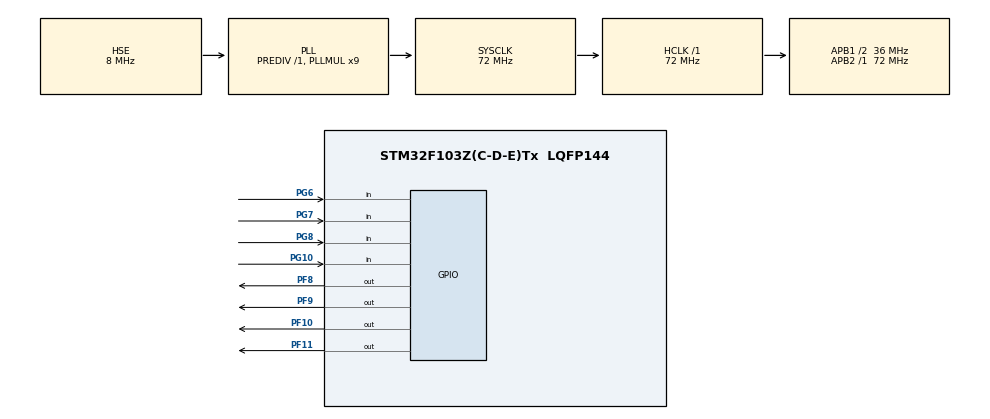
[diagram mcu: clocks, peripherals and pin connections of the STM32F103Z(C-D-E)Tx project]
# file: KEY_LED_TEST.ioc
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Mcu.Family=STM32F1
Mcu.Name=STM32F103Z(C-D-E)Tx
Mcu.Package=LQFP144
NVIC.PriorityGroup=NVIC_PRIORITYGROUP_4
OSC_IN.Mode=HSE-External-Oscillator
OSC_IN.Signal=RCC_OSC_IN
OSC_OUT.Mode=HSE-External-Oscillator
OSC_OUT.Signal=RCC_OSC_OUT
PA13.Mode=Serial_Wire
PA13.Signal=SYS_JTMS-SWDIO
PA14.Mode=Serial_Wire
PA14.Signal=SYS_JTCK-SWCLK
PF10.PinState=GPIO_PIN_SET
PF10.Signal=GPIO_Output
PF11.PinState=GPIO_PIN_SET
PF11.Signal=GPIO_Output
PF8.PinState=GPIO_PIN_SET
PF8.Signal=GPIO_Output
PF9.PinState=GPIO_PIN_SET
PF9.Signal=GPIO_Output
PG10.GPIO_Mode=GPIO_MODE_INPUT
PG10.Signal=GPIO_Input
PG6.GPIO_Mode=GPIO_MODE_INPUT
PG6.Signal=GPIO_Input
PG7.GPIO_Mode=GPIO_MODE_INPUT
PG7.Signal=GPIO_Input
PG8.GPIO_Mode=GPIO_MODE_INPUT
PG8.Signal=GPIO_Input
ProjectManager.HeapSize=0x200
ProjectManager.StackSize=0x400
ProjectManager.TargetToolchain=MDK-ARM V5.32
RCC.AHBFreq_Value=72000000
RCC.APB1CLKDivider=RCC_HCLK_DIV2
RCC.APB1Freq_Value=36000000
RCC.APB1TimFreq_Value=72000000
RCC.APB2Freq_Value=72000000
RCC.APB2TimFreq_Value=72000000
RCC.HCLKFreq_Value=72000000
RCC.PLLMUL=RCC_PLL_MUL9
RCC.PLLSourceVirtual=RCC_PLLSOURCE_HSE
RCC.SYSCLKFreq_VALUE=72000000
RCC.SYSCLKSource=RCC_SYSCLKSOURCE_PLLCLK
RCC.USBFreq_Value=72000000
board=custom

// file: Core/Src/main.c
/* USER CODE BEGIN Header */
/**
 ******************************************************************************
 * @file           : main.c
 * @brief          : Main program body
 ******************************************************************************
 * @attention
 *
 * Copyright (c) 2026 STMicroelectronics.
 * All rights reserved.
 *
 * This software is licensed under terms that can be found in the LICENSE file
 * in the root directory of this software component.
 * If no LICENSE file comes with this software, it is provided AS-IS.
 *
 ******************************************************************************
 */
/* USER CODE END Header */
#include "main.h"

/* USER CODE BEGIN Includes */
#include <stdbool.h>
/* USER CODE END Includes */

/* USER CODE BEGIN PTD */
typedef enum
{
    LED1 = 1,
    LED2,
    LED3,
    LED4
} LED_t;

typedef enum
{
    KEY1 = 1,
    KEY2,
    KEY3,
    KEY4
} KEY_t;

/* USER CODE END PTD */

/* USER CODE BEGIN PD */
bool led_status = false;
/* USER CODE END PD */

/* USER CODE BEGIN PM */
#define KEY_DEBOUNCE_MS 20 // 按键消抖延迟20MS
/* USER CODE END PM */

void SystemClock_Config(void);
static void MX_GPIO_Init(void);
/* USER CODE BEGIN PFP */
void BSP_LED_Control(LED_t LED, bool flag);
void BSP_LED_On(LED_t LED);
void BSP_LED_Off(LED_t LED);
bool BSP_KEY_IsPressd_v1(KEY_t KEY);
bool BSP_KEY_IsPressd_v2(KEY_t KEY);
/* USER CODE END PFP */

int main(void)
{

    /* MCU Configuration--------------------------------------------------------*/

    /* Reset of all peripherals, Initializes the Flash interface and the Systick. */
    HAL_Init();

    /* Configure the system clock */
    SystemClock_Config();

    /* Initialize all configured peripherals */
    MX_GPIO_Init();

    /* Infinite loop */
    /* USER CODE BEGIN WHILE */
    while (1)
    {
        // version4
        BSP_KEY_IsPressd_v2(KEY1) ? BSP_LED_On(KEY1) : BSP_LED_Off(KEY1);
        BSP_KEY_IsPressd_v2(KEY2) ? BSP_LED_On(KEY2) : BSP_LED_Off(KEY2);
        BSP_KEY_IsPressd_v2(KEY3) ? BSP_LED_On(KEY3) : BSP_LED_Off(KEY3);
        BSP_KEY_IsPressd_v2(KEY4) ? BSP_LED_On(KEY4) : BSP_LED_Off(KEY4);

        //  version3
        // if (HAL_GPIO_ReadPin(GPIOG, GPIO_PIN_10) == GPIO_PIN_RESET)
        // {
        //   HAL_Delay(KEY_DEBOUNCE_MS);
        //   if (HAL_GPIO_ReadPin(GPIOG, GPIO_PIN_10) == GPIO_PIN_RESET)
        //   {
        //     led_status = !led_status;
        //     HAL_GPIO_WritePin(GPIOF, GPIO_PIN_8, led_status ? GPIO_PIN_RESET : GPIO_PIN_SET);
        //   }
        //   // 案件按下之后，直到放开就结束while循环
        //   while (HAL_GPIO_ReadPin(GPIOG, GPIO_PIN_10) == GPIO_PIN_RESET)
        //     ;
        // }

        // version2
        // 抖动复现
        // if (HAL_GPIO_ReadPin(GPIOG, GPIO_PIN_10) == GPIO_PIN_RESET)
        // {
        //   led_status = !led_status;
        //   HAL_GPIO_WritePin(GPIOF, GPIO_PIN_8, led_status ? GPIO_PIN_RESET : GPIO_PIN_SET);
        // }

        // version1
        // 开关已经被按下
        // if (HAL_GPIO_ReadPin(GPIOG, GPIO_PIN_10) == GPIO_PIN_RESET)
        // {
        //   HAL_GPIO_WritePin(GPIOF, GPIO_PIN_8, GPIO_PIN_RESET); // 开漏输出，写0灯亮
        // }
        // else
        // {
        //   HAL_GPIO_WritePin(GPIOF, GPIO_PIN_8, GPIO_PIN_SET); // 开漏输出，写1灯灭
        // }
        /* USER CODE END WHILE */

    }
}

void SystemClock_Config(void)
{
    RCC_OscInitTypeDef RCC_OscInitStruct = {0};
    RCC_ClkInitTypeDef RCC_ClkInitStruct = {0};

    /** Initializes the RCC Oscillators according to the specified parameters
  * in the RCC_OscInitTypeDef structure.
  */
    RCC_OscInitStruct.OscillatorType = RCC_OSCILLATORTYPE_HSE;
    RCC_OscInitStruct.HSEState = RCC_HSE_ON;
    RCC_OscInitStruct.HSEPredivValue = RCC_HSE_PREDIV_DIV1;
    RCC_OscInitStruct.HSIState = RCC_HSI_ON;
    RCC_OscInitStruct.PLL.PLLState = RCC_PLL_ON;
    RCC_OscInitStruct.PLL.PLLSource = RCC_PLLSOURCE_HSE;
    RCC_OscInitStruct.PLL.PLLMUL = RCC_PLL_MUL9;
    if (HAL_RCC_OscConfig(&RCC_OscInitStruct) != HAL_OK)
    {
        Error_Handler();
    }

    /** Initializes the CPU, AHB and APB buses clocks
  */
    RCC_ClkInitStruct.ClockType = RCC_CLOCKTYPE_HCLK | RCC_CLOCKTYPE_SYSCLK | RCC_CLOCKTYPE_PCLK1 | RCC_CLOCKTYPE_PCLK2;
    RCC_ClkInitStruct.SYSCLKSource = RCC_SYSCLKSOURCE_PLLCLK;
    RCC_ClkInitStruct.AHBCLKDivider = RCC_SYSCLK_DIV1;
    RCC_ClkInitStruct.APB1CLKDivider = RCC_HCLK_DIV2;
    RCC_ClkInitStruct.APB2CLKDivider = RCC_HCLK_DIV1;

    if (HAL_RCC_ClockConfig(&RCC_ClkInitStruct, FLASH_LATENCY_2) != HAL_OK)
    {
        Error_Handler();
    }
}

static void MX_GPIO_Init(void)
{
    GPIO_InitTypeDef GPIO_InitStruct = {0};

    /* GPIO Ports Clock Enable */
    __HAL_RCC_GPIOF_CLK_ENABLE();
    __HAL_RCC_GPIOG_CLK_ENABLE();
    __HAL_RCC_GPIOA_CLK_ENABLE();

    /*Configure GPIO pin Output Level */
    HAL_GPIO_WritePin(GPIOF, GPIO_PIN_8 | GPIO_PIN_9 | GPIO_PIN_10 | GPIO_PIN_11, GPIO_PIN_SET);

    /*Configure GPIO pins : PF8 PF9 PF10 PF11 */
    GPIO_InitStruct.Pin = GPIO_PIN_8 | GPIO_PIN_9 | GPIO_PIN_10 | GPIO_PIN_11;
    GPIO_InitStruct.Mode = GPIO_MODE_OUTPUT_PP;
    GPIO_InitStruct.Pull = GPIO_NOPULL;
    GPIO_InitStruct.Speed = GPIO_SPEED_FREQ_LOW;
    HAL_GPIO_Init(GPIOF, &GPIO_InitStruct);

    /*Configure GPIO pins : PG6 PG7 PG8 PG10 */
    GPIO_InitStruct.Pin = GPIO_PIN_6 | GPIO_PIN_7 | GPIO_PIN_8 | GPIO_PIN_10;
    GPIO_InitStruct.Mode = GPIO_MODE_INPUT;
    GPIO_InitStruct.Pull = GPIO_NOPULL;
    HAL_GPIO_Init(GPIOG, &GPIO_InitStruct);

}

/* USER CODE BEGIN 4 */
// 关于灯的函数
// ture：点亮，false：熄灭
void BSP_LED_Control(LED_t LED, bool flag)
{
    GPIO_PinState state = flag ? GPIO_PIN_RESET : GPIO_PIN_SET;
    switch (LED)
    {
    case LED1:
        HAL_GPIO_WritePin(GPIOF, GPIO_PIN_8, state);
        break;
    case LED2:
        HAL_GPIO_WritePin(GPIOF, GPIO_PIN_9, state);
        break;
    case LED3:
        HAL_GPIO_WritePin(GPIOF, GPIO_PIN_10, state);
        break;
    case LED4:
        HAL_GPIO_WritePin(GPIOF, GPIO_PIN_11, state);
        break;
    default:
        break;
    }
}

void BSP_LED_On(LED_t LED)
{
    BSP_LED_Control(LED, true);
}
void BSP_LED_Off(LED_t LED)
{
    BSP_LED_Control(LED, false);
}

// 关于按键的函数
bool BSP_KEY_IsPressd_v1(KEY_t KEY)
{
    bool ret = false;
    switch (KEY)
    {
    case KEY1: // PG10
        ret = (HAL_GPIO_ReadPin(GPIOG, GPIO_PIN_10) == GPIO_PIN_RESET);
        break;
    case KEY2: // PG6
        ret = (HAL_GPIO_ReadPin(GPIOG, GPIO_PIN_6) == GPIO_PIN_RESET);
        break;
    case KEY3: // PG8
        ret = (HAL_GPIO_ReadPin(GPIOG, GPIO_PIN_8) == GPIO_PIN_RESET);
        break;
    case KEY4: // PG7
        ret = (HAL_GPIO_ReadPin(GPIOG, GPIO_PIN_7) == GPIO_PIN_RESET);
        break;
    default:
        break;
    }
    return ret;
}
// 消抖方案
bool BSP_KEY_IsPressd_v2(KEY_t KEY)
{
    bool ret = false;
    switch (KEY)
    {
    case KEY1: // PG10
    {
        if (HAL_GPIO_ReadPin(GPIOG, GPIO_PIN_10) == GPIO_PIN_RESET)
        {
            HAL_Delay(KEY_DEBOUNCE_MS);
            if (HAL_GPIO_ReadPin(GPIOG, GPIO_PIN_10) == GPIO_PIN_RESET)
                ret = true;
        }
    }
    break;
    case KEY2: // PG6
    {
        if (HAL_GPIO_ReadPin(GPIOG, GPIO_PIN_6) == GPIO_PIN_RESET)
        {
            HAL_Delay(KEY_DEBOUNCE_MS);
            if (HAL_GPIO_ReadPin(GPIOG, GPIO_PIN_6) == GPIO_PIN_RESET)
                ret = true;
        }
    }
    break;
    case KEY3: // PG8
    {
        if (HAL_GPIO_ReadPin(GPIOG, GPIO_PIN_8) == GPIO_PIN_RESET)
        {
            HAL_Delay(KEY_DEBOUNCE_MS);
            if (HAL_GPIO_ReadPin(GPIOG, GPIO_PIN_8) == GPIO_PIN_RESET)
                ret = true;
        }
    }
    break;
    case KEY4: // PG7
    {
        if (HAL_GPIO_ReadPin(GPIOG, GPIO_PIN_7) == GPIO_PIN_RESET)
        {
            HAL_Delay(KEY_DEBOUNCE_MS);
            if (HAL_GPIO_ReadPin(GPIOG, GPIO_PIN_7) == GPIO_PIN_RESET)
                ret = true;
        }
    }
    break;
    default:
        break;
    }
    return ret;
}
/* USER CODE END 4 */

void Error_Handler(void)
{
    __disable_irq();
    while (1)
    {
    }
}
